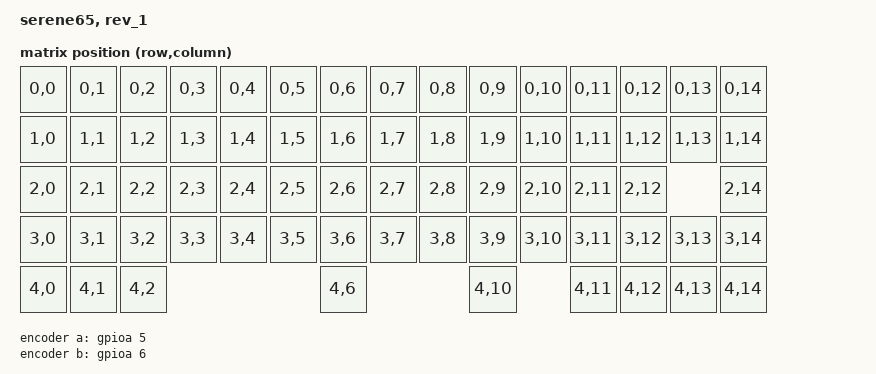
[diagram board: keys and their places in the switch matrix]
/*
 * Copyright (c) 2020 The ZMK Contributors
 *
 * SPDX-License-Identifier: MIT
 */

/dts-v1/;
#include <st/f4/stm32f411Xe.dtsi>
#include <st/f4/stm32f411c(c-e)ux-pinctrl.dtsi>
#include <dt-bindings/led/led.h>
#include <dt-bindings/zmk/matrix_transform.h>

/ {
    model = "serene65, rev_1";
    compatible = "serene65,rev_1", "st,stm32f411";

    chosen {
        zephyr,sram = &sram0;
        zephyr,flash = &flash0;
        zmk,matrix_transform = &default_transform;
        zmk,underglow = &ws2812;
        zmk,underglow-chain-length = <1>;
    };
    

    default_transform: keymap_transform_0 {
        compatible = "zmk,matrix-transform";
        columns = <15>;
        rows = <5>;
        map = <
            RC(0,0) RC(0,1) RC(0,2) RC(0,3) RC(0,4) RC(0,5) RC(0,6) RC(0,7) RC(0,8) RC(0,9) RC(0,10) RC(0,11) RC(0,12) RC(0,13) RC(0,14)
            RC(1,0) RC(1,1) RC(1,2) RC(1,3) RC(1,4) RC(1,5) RC(1,6) RC(1,7) RC(1,8) RC(1,9) RC(1,10) RC(1,11) RC(1,12) RC(1,13) RC(1,14)
            RC(2,0) RC(2,1) RC(2,2) RC(2,3) RC(2,4) RC(2,5) RC(2,6) RC(2,7) RC(2,8) RC(2,9) RC(2,10) RC(2,11) RC(2,12)          RC(2,14)
            RC(3,0) RC(3,1) RC(3,2) RC(3,3) RC(3,4) RC(3,5) RC(3,6) RC(3,7) RC(3,8) RC(3,9) RC(3,10) RC(3,11) RC(3,12) RC(3,13) RC(3,14)
            RC(4,0) RC(4,1) RC(4,2)                             RC(4,6)                 RC(4,10) RC(4,11) RC(4,12) RC(4,13) RC(4,14)
            >;
    };

    encoder: encoder {
        compatible = "alps,ec11";
        a-gpios = <&gpioa 5 (GPIO_ACTIVE_HIGH | GPIO_PULL_UP)>;
        b-gpios = <&gpioa 6 (GPIO_ACTIVE_HIGH | GPIO_PULL_UP)>;
        steps = <80>;
        status = "disabled";
    };
        
    sensors: sensors {
        compatible = "zmk,keymap-sensors";
        sensors = <&encoder>;
        triggers-per-rotation = <20>;
    };

    ws2812: ws2812 {
        compatible = "worldsemi,ws2812-strip";
        chain-length = <1>;
        pwms = <&pwm1 1 1250000 PWM_POLARITY_NORMAL>;
        color-mapping = <LED_COLOR_ID_GREEN LED_COLOR_ID_RED LED_COLOR_ID_BLUE>;
        status = "okay";
    };
};

&adc1 {
    status = "okay";
    pinctrl-0 = <&adc1_in3_pa3>;
    pinctrl-names = "default";
    st,adc-prescaler = <2>;
    #address-cells = <1>;
    #size-cells = <0>;

    channel@3 {
        reg = <3>;
        zephyr,gain = "ADC_GAIN_1";
        zephyr,reference = "ADC_REF_INTERNAL";
        zephyr,acquisition-time = <ADC_ACQ_TIME_DEFAULT>;
        zephyr,resolution = <12>;
    };
};

&timers1 {
    status = "okay";
    st,prescaler = <0>;
    
    pwm1: pwm {
        status = "okay";
        pinctrl-0 = <&tim1_ch1_pa8>;
        pinctrl-names = "default";
    };
};

&dma1 {
    status = "okay";
};

&dma2 {
    status = "okay";
};

&clk_hse {
    status = "okay";
    clock-frequency = <DT_FREQ_M(8)>;
};

&pll {
    status = "okay";
    div-m = <4>;
    mul-n = <72>;
    div-p = <2>;
    div-q = <3>;
    clocks = <&clk_hse>;
};

&rcc {
    clocks = <&pll>;
    clock-frequency = <DT_FREQ_M(72)>;
    ahb-prescaler = <1>;
    apb1-prescaler = <2>;
    apb2-prescaler = <1>;
};

zephyr_udc0: &usbotg_fs {
    status = "okay";
    pinctrl-0 = <&usb_otg_fs_dm_pa11 &usb_otg_fs_dp_pa12>;
    pinctrl-names = "default";
    num-bidir-endpoints = <4>;
};

&rtc {
    status = "okay";
};

&flash0 {
    partitions {
        compatible = "fixed-partitions";
        #address-cells = <1>;
        #size-cells = <1>;
        storage_partition: partition@1e800 {
            reg = <0x0001e800 0x00001800>;
        };
    };
};
